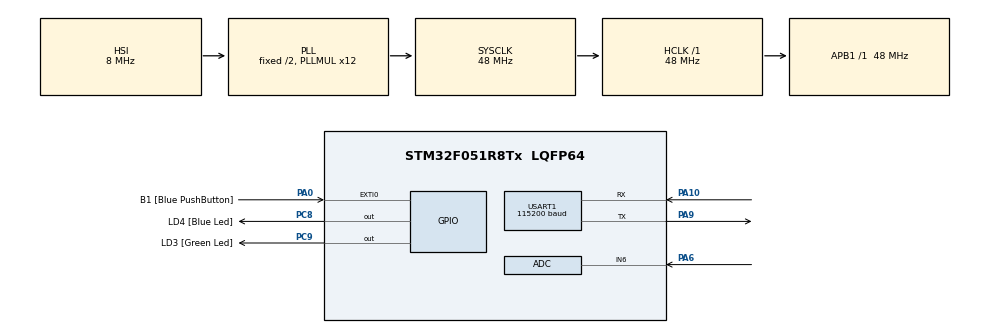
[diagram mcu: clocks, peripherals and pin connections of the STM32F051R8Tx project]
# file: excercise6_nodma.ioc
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Mcu.Family=STM32F0
Mcu.Name=STM32F051R8Tx
Mcu.Package=LQFP64
PA0.GPIO_Label=B1 [Blue PushButton]
PA0.GPIO_ModeDefaultEXTI=GPIO_MODE_EVT_RISING
PA0.Signal=GPXTI0
PA10.Mode=Asynchronous
PA10.Signal=USART1_RX
PA13.GPIO_Label=SWDIO
PA13.Mode=Serial_Wire
PA13.Signal=SYS_SWDIO
PA14.GPIO_Label=SWCLK
PA14.Mode=Serial_Wire
PA14.Signal=SYS_SWCLK
PA6.Mode=IN6
PA6.Signal=ADC_IN6
PA9.Mode=Asynchronous
PA9.Signal=USART1_TX
PC8.GPIO_Label=LD4 [Blue Led]
PC8.Signal=GPIO_Output
PC9.GPIO_Label=LD3 [Green Led]
PC9.Signal=GPIO_Output
ProjectManager.HeapSize=0x200
ProjectManager.StackSize=0x400
ProjectManager.TargetToolchain=STM32CubeIDE
RCC.AHBFreq_Value=48000000
RCC.APB1Freq_Value=48000000
RCC.APB1TimFreq_Value=48000000
RCC.HCLKFreq_Value=48000000
RCC.PLLMUL=RCC_PLL_MUL12
RCC.SYSCLKFreq_VALUE=48000000
RCC.SYSCLKSource=RCC_SYSCLKSOURCE_PLLCLK
USART1.BaudRate=115200
USART1.VirtualMode-Asynchronous=VM_ASYNC
board=STM32F0DISCOVERY

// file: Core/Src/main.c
/* USER CODE BEGIN Header */
/**
  ******************************************************************************
  * @file           : main.c
  * @brief          : Main program body
  ******************************************************************************
  * @attention
  *
  * Copyright (c) 2024 STMicroelectronics.
  * All rights reserved.
  *
  * This software is licensed under terms that can be found in the LICENSE file
  * in the root directory of this software component.
  * If no LICENSE file comes with this software, it is provided AS-IS.
  *
  ******************************************************************************
  */
/* USER CODE END Header */
#include "main.h"

/* USER CODE BEGIN Includes */
#include "stdio.h"
#include "string.h"
#include "stdint.h"
/* USER CODE END Includes */

ADC_HandleTypeDef hadc;

UART_HandleTypeDef huart1;

/* USER CODE BEGIN PV */

	/* The data collected by the ADC on the stman32f0discovery */
	uint32_t adc_data={0};

	/* The buffer to hold the message to be transmitted by the USART interface */
	uint8_t uart_buf[50];

	/*The measured voltage that is converted from the adc value */
	float voltage = 0;

	/*The actual amount of the uart_buf used to transmit the message */
	int uart_buf_len = 0;

/* USER CODE END PV */

void SystemClock_Config(void);
static void MX_GPIO_Init(void);
static void MX_USART1_UART_Init(void);
static void MX_ADC_Init(void);

int main(void)
{

  /* MCU Configuration--------------------------------------------------------*/

  /* Reset of all peripherals, Initializes the Flash interface and the Systick. */
  HAL_Init();

  /* Configure the system clock */
  SystemClock_Config();

  /* Initialize all configured peripherals */
  MX_GPIO_Init();
  MX_USART1_UART_Init();
  MX_ADC_Init();

  /* Infinite loop */
  while (1)
  {

    /* USER CODE BEGIN 3 */
  /*
 	 	Start the ADC and poll for conversion to start voltage information collection

	   	Added slight delay after just to give time for anything to finish.
	   */
	  HAL_ADC_Start(&hadc);
	  HAL_Delay(1);
	  HAL_ADC_PollForConversion(&hadc, HAL_MAX_DELAY);

	  /*
	   Get the value from the internal ADC after a slight delay to allow for the conversion process
	   of the Internal ADC to complete.
	   */
	  HAL_Delay(2);
	  adc_data = HAL_ADC_GetValue(&hadc);

	  /*
	  converting the ADC data into a readable voltage measurement.
	   */
	  voltage = (adc_data *3) / 4095.0 ; // voltage of 5 in.

	  /*
	   Create message to be transmitted through UART to computer

	   Transmit the data from the stored buffer to the COmputer which can be observed
	   on Serial in Putty on COM3

	   Have loop recur every 1 second to decrease the rate of output
	   */
	  uart_buf_len = sprintf(uart_buf,"%f V\r\n",voltage);
	  HAL_UART_Transmit(&huart1, (u_int8_t*)uart_buf, uart_buf_len, HAL_MAX_DELAY);
	  HAL_Delay(1000);
  }
  /* USER CODE END 3 */
}

void SystemClock_Config(void)
{
  RCC_OscInitTypeDef RCC_OscInitStruct = {0};
  RCC_ClkInitTypeDef RCC_ClkInitStruct = {0};
  RCC_PeriphCLKInitTypeDef PeriphClkInit = {0};

  /** Initializes the RCC Oscillators according to the specified parameters
  * in the RCC_OscInitTypeDef structure.
  */
  RCC_OscInitStruct.OscillatorType = RCC_OSCILLATORTYPE_HSI|RCC_OSCILLATORTYPE_HSI14;
  RCC_OscInitStruct.HSIState = RCC_HSI_ON;
  RCC_OscInitStruct.HSI14State = RCC_HSI14_ON;
  RCC_OscInitStruct.HSICalibrationValue = RCC_HSICALIBRATION_DEFAULT;
  RCC_OscInitStruct.HSI14CalibrationValue = 16;
  RCC_OscInitStruct.PLL.PLLState = RCC_PLL_ON;
  RCC_OscInitStruct.PLL.PLLSource = RCC_PLLSOURCE_HSI;
  RCC_OscInitStruct.PLL.PLLMUL = RCC_PLL_MUL12;
  RCC_OscInitStruct.PLL.PREDIV = RCC_PREDIV_DIV1;
  if (HAL_RCC_OscConfig(&RCC_OscInitStruct) != HAL_OK)
  {
    Error_Handler();
  }

  /** Initializes the CPU, AHB and APB buses clocks
  */
  RCC_ClkInitStruct.ClockType = RCC_CLOCKTYPE_HCLK|RCC_CLOCKTYPE_SYSCLK
                              |RCC_CLOCKTYPE_PCLK1;
  RCC_ClkInitStruct.SYSCLKSource = RCC_SYSCLKSOURCE_PLLCLK;
  RCC_ClkInitStruct.AHBCLKDivider = RCC_SYSCLK_DIV1;
  RCC_ClkInitStruct.APB1CLKDivider = RCC_HCLK_DIV1;

  if (HAL_RCC_ClockConfig(&RCC_ClkInitStruct, FLASH_LATENCY_1) != HAL_OK)
  {
    Error_Handler();
  }
  PeriphClkInit.PeriphClockSelection = RCC_PERIPHCLK_USART1;
  PeriphClkInit.Usart1ClockSelection = RCC_USART1CLKSOURCE_PCLK1;
  if (HAL_RCCEx_PeriphCLKConfig(&PeriphClkInit) != HAL_OK)
  {
    Error_Handler();
  }
}

static void MX_ADC_Init(void)
{

  ADC_ChannelConfTypeDef sConfig = {0};

  /** Configure the global features of the ADC (Clock, Resolution, Data Alignment and number of conversion)
  */
  hadc.Instance = ADC1;
  hadc.Init.ClockPrescaler = ADC_CLOCK_ASYNC_DIV1;
  hadc.Init.Resolution = ADC_RESOLUTION_12B;
  hadc.Init.DataAlign = ADC_DATAALIGN_RIGHT;
  hadc.Init.ScanConvMode = ADC_SCAN_DIRECTION_FORWARD;
  hadc.Init.EOCSelection = ADC_EOC_SINGLE_CONV;
  hadc.Init.LowPowerAutoWait = DISABLE;
  hadc.Init.LowPowerAutoPowerOff = DISABLE;
  hadc.Init.ContinuousConvMode = DISABLE;
  hadc.Init.DiscontinuousConvMode = DISABLE;
  hadc.Init.ExternalTrigConv = ADC_SOFTWARE_START;
  hadc.Init.ExternalTrigConvEdge = ADC_EXTERNALTRIGCONVEDGE_NONE;
  hadc.Init.DMAContinuousRequests = DISABLE;
  hadc.Init.Overrun = ADC_OVR_DATA_PRESERVED;
  if (HAL_ADC_Init(&hadc) != HAL_OK)
  {
    Error_Handler();
  }

  /** Configure for the selected ADC regular channel to be converted.
  */
  sConfig.Channel = ADC_CHANNEL_6;
  sConfig.Rank = ADC_RANK_CHANNEL_NUMBER;
  sConfig.SamplingTime = ADC_SAMPLETIME_1CYCLE_5;
  if (HAL_ADC_ConfigChannel(&hadc, &sConfig) != HAL_OK)
  {
    Error_Handler();
  }

}

static void MX_USART1_UART_Init(void)
{

  huart1.Instance = USART1;
  huart1.Init.BaudRate = 115200;
  huart1.Init.WordLength = UART_WORDLENGTH_8B;
  huart1.Init.StopBits = UART_STOPBITS_1;
  huart1.Init.Parity = UART_PARITY_NONE;
  huart1.Init.Mode = UART_MODE_TX_RX;
  huart1.Init.HwFlowCtl = UART_HWCONTROL_NONE;
  huart1.Init.OverSampling = UART_OVERSAMPLING_16;
  huart1.Init.OneBitSampling = UART_ONE_BIT_SAMPLE_DISABLE;
  huart1.AdvancedInit.AdvFeatureInit = UART_ADVFEATURE_NO_INIT;
  if (HAL_UART_Init(&huart1) != HAL_OK)
  {
    Error_Handler();
  }

}

static void MX_GPIO_Init(void)
{
  GPIO_InitTypeDef GPIO_InitStruct = {0};

  /* GPIO Ports Clock Enable */
  __HAL_RCC_GPIOA_CLK_ENABLE();
  __HAL_RCC_GPIOC_CLK_ENABLE();

  /*Configure GPIO pin Output Level */
  HAL_GPIO_WritePin(GPIOC, LD4_Pin|LD3_Pin, GPIO_PIN_RESET);

  /*Configure GPIO pin : B1_Pin */
  GPIO_InitStruct.Pin = B1_Pin;
  GPIO_InitStruct.Mode = GPIO_MODE_EVT_RISING;
  GPIO_InitStruct.Pull = GPIO_NOPULL;
  HAL_GPIO_Init(B1_GPIO_Port, &GPIO_InitStruct);

  /*Configure GPIO pins : LD4_Pin LD3_Pin */
  GPIO_InitStruct.Pin = LD4_Pin|LD3_Pin;
  GPIO_InitStruct.Mode = GPIO_MODE_OUTPUT_PP;
  GPIO_InitStruct.Pull = GPIO_NOPULL;
  GPIO_InitStruct.Speed = GPIO_SPEED_FREQ_LOW;
  HAL_GPIO_Init(GPIOC, &GPIO_InitStruct);

}

void Error_Handler(void)
{
  __disable_irq();
  while (1)
  {
  }
}
